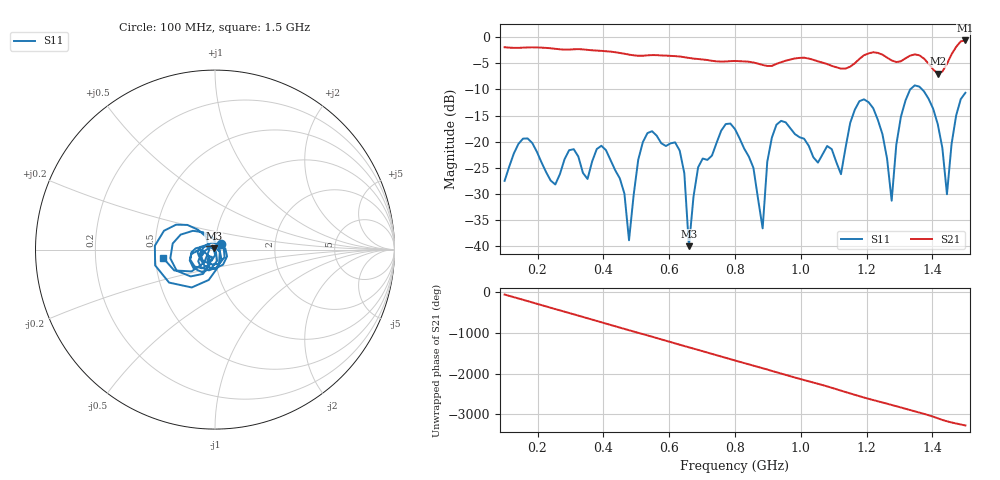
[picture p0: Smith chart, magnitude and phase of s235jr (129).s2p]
! NanoVNA-App
! Date: 2025-09-25 15:05:10
! Start: 100MHz Stop: 1,5GHz Points: 101
! S-Parameter data: F S11 S21 S12 S22
# Hz S RI R 50
!  Frequency  S11_Real  S11_Imag  S21_Real  S21_Imag  S12_Real  S12_Imag  S22_Real  S22_Imag
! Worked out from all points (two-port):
!   101 points, 100 MHz to 1.5 GHz, reference 50 ohm
!   highest |S21| = -0.67 dB at 1.5 GHz (marker M1); lowest = -7.0 dB at 1.416 GHz (marker M2)
!   |S21| within 3 dB of the highest: start of sweep to 619.4 MHz; 1.188 GHz to 1.255 GHz (66.65 MHz wide, 5.46 % of centre) (the widest 2 of 4)
!   lowest |S11| = -39.9 dB at 660 MHz (marker M3), VSWR 1.02, Z = 49.3 + j0.661 ohm
!   |S11| at or under -10 dB: start of sweep to 1.333 GHz; 1.368 GHz to end of sweep
!   S12 and S22 are empty: the file has one direction only
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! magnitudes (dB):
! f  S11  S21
! 100 MHz  -27.5  -2.0
! 156 MHz  -19.4  -2.0
! 338 MHz  -26.0  -2.4
! 408 MHz  -21.6  -2.7
! 478 MHz  -38.8  -3.4
! 520 MHz  -20.1  -3.6
! 576 MHz  -20.3  -3.5
! 632 MHz  -21.7  -3.7
! 660 MHz  -39.9  -4.0
! 688 MHz  -24.9  -4.2
! 800 MHz  -17.6  -4.6
! 884 MHz  -36.5  -5.3
! 926 MHz  -16.8  -5.1
! 1.038 GHz  -23.0  -4.4
! 1.122 GHz  -26.2  -6.0
! 1.192 GHz  -11.9  -3.5
! 1.248 GHz  -18.6  -3.4
! 1.276 GHz  -31.3  -4.5
! 1.332 GHz  -10.0  -3.6
! 1.416 GHz  -16.6  -7.0
! 1.444 GHz  -30.0  -5.1
! 1.5 GHz  -10.7  -0.7
